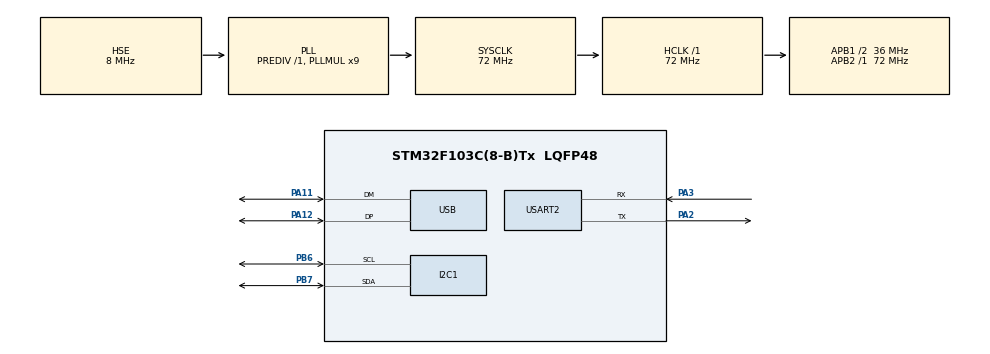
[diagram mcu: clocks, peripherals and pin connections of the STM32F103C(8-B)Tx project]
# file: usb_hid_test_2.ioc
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Mcu.Family=STM32F1
Mcu.Name=STM32F103C(8-B)Tx
Mcu.Package=LQFP48
NVIC.PriorityGroup=NVIC_PRIORITYGROUP_4
NVIC.USART2_IRQn=true\:0\:0\:false\:false\:true\:true\:true\:true
NVIC.USB_LP_CAN1_RX0_IRQn=true\:0\:0\:false\:false\:true\:false\:true\:true
PA11.Mode=Device
PA11.Signal=USB_DM
PA12.Mode=Device
PA12.Signal=USB_DP
PA13.Mode=Serial_Wire
PA13.Signal=SYS_JTMS-SWDIO
PA14.Mode=Serial_Wire
PA14.Signal=SYS_JTCK-SWCLK
PA2.Mode=Asynchronous
PA2.Signal=USART2_TX
PA3.Mode=Asynchronous
PA3.Signal=USART2_RX
PB6.Mode=I2C
PB6.Signal=I2C1_SCL
PB7.Mode=I2C
PB7.Signal=I2C1_SDA
PD0-OSC_IN.Mode=HSE-External-Oscillator
PD0-OSC_IN.Signal=RCC_OSC_IN
PD1-OSC_OUT.Mode=HSE-External-Oscillator
PD1-OSC_OUT.Signal=RCC_OSC_OUT
ProjectManager.HeapSize=0x200
ProjectManager.StackSize=0x400
ProjectManager.TargetToolchain=MDK-ARM V5.32
RCC.AHBFreq_Value=72000000
RCC.APB1CLKDivider=RCC_HCLK_DIV2
RCC.APB1Freq_Value=36000000
RCC.APB1TimFreq_Value=72000000
RCC.APB2Freq_Value=72000000
RCC.APB2TimFreq_Value=72000000
RCC.HCLKFreq_Value=72000000
RCC.PLLMUL=RCC_PLL_MUL9
RCC.SYSCLKFreq_VALUE=72000000
RCC.SYSCLKSource=RCC_SYSCLKSOURCE_PLLCLK
RCC.USBFreq_Value=48000000
RCC.USBPrescaler=RCC_USBCLKSOURCE_PLL_DIV1_5
USART2.VirtualMode=VM_ASYNC
USB_DEVICE.CLASS_NAME_FS=CUSTOM_HID
USB_DEVICE.PID_CUSTOMHID_FS=22370
USB_DEVICE.VirtualMode=CustomHid
USB_DEVICE.VirtualModeFS=Custom_Hid_FS
VP_USB_DEVICE_VS_USB_DEVICE_CUSTOM_HID_FS.Mode=CUSTOM_HID_FS
board=custom

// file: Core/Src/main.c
/* USER CODE BEGIN Header */
/**
  ******************************************************************************
  * @file           : main.c
  * @brief          : Main program body
  ******************************************************************************
  * @attention
  *
  * Copyright (c) 2024 STMicroelectronics.
  * All rights reserved.
  *
  * This software is licensed under terms that can be found in the LICENSE file
  * in the root directory of this software component.
  * If no LICENSE file comes with this software, it is provided AS-IS.
  *
  ******************************************************************************
  */
/* USER CODE END Header */
#include "main.h"
#include "usb_device.h"

/* USER CODE BEGIN Includes */
#include "MPU6050.h"
#include "UartRingbuffer.h"
#include "NMEA.h"
#include "i2c-lcd.h"
#include "usbd_customhid.h"
#include "string.h"
#include "Kalman.h"
#include <math.h>

/* USER CODE END Includes */

I2C_HandleTypeDef hi2c1;

UART_HandleTypeDef huart2;

void SystemClock_Config(void);
static void MX_GPIO_Init(void);
static void MX_I2C1_Init(void);
static void MX_USART2_UART_Init(void);
/* USER CODE BEGIN PFP */
extern float Ax, Ay, Az, Gx, Gy, Gz;
uint8_t USB_TX_Buffer[64];
uint8_t packet[64];
uint32_t time_current = 0;
int dem = 0;
/* USER CODE END PFP */

/* USER CODE BEGIN 0 */
char GGA[100];
char RMC[100];

GPSSTRUCT gpsData;

int flagGGA = 0, flagRMC = 0;

// Hàm tính checksum
uint8_t calculate_checksum(const char *data, uint8_t length) {
    uint8_t checksum = 0;
    for (uint8_t i = 0; i < length; i++) {
        checksum ^= data[i];
    }
    return checksum;
}

// Hàm dóng gói du lieu
void package_gps_data(float longtitude, float latitude, char NS, char EW, float speed, char *packet) {
			sprintf((char *)packet, " %i,%.6f,%c,%.6f,%c,%.2f",1, longtitude, EW, latitude, NS, speed);
			// Tính toán và thêm checksum vào cu?i chu?i
			size_t length = strlen(packet);
			uint8_t checksum = calculate_checksum(packet, length);
			sprintf(packet + length, ",%2X\n\r", checksum); // Thêm checksum vào chuoi
}

// Hàm truyen du lieu qua USB
void send_gps_data() {
    //package_gps_data(longtitude, latitude, speed, (char *)packet);
		sprintf((char *)USB_TX_Buffer, (char *)packet);
		USBD_CUSTOM_HID_SendReport(&hUsbDeviceFS, USB_TX_Buffer, 65);
}

void GPS_READ (void)
{
	if (Wait_for("GGA") == 1)
		{

			//VCCTimeout = 5000;  // Reset the VCC Timeout indicating the GGA is being received

			Copy_upto("*", GGA);
			if (decodeGGA(GGA, &gpsData.ggastruct) == 0) flagGGA = 2;  // 2 indicates the data is valid
			else flagGGA = 1;  // 1 indicates the data is invalid
		}

	if (Wait_for("RMC") == 1)
		{

		 // VCCTimeout = 5000;  // Reset the VCC Timeout indicating the RMC is being received

			Copy_upto("*", RMC);
			if (decodeRMC(RMC, &gpsData.rmcstruct) == 0) flagRMC = 2;  // 2 indicates the data is valid
			else flagRMC = 1;  // 1 indicates the data is invalid
		}
}

/* USER CODE END 0 */

int main(void)

{

  /* MCU Configuration--------------------------------------------------------*/

  /* Reset of all peripherals, Initializes the Flash interface and the Systick. */
  HAL_Init();

  /* Configure the system clock */
  SystemClock_Config();

  /* Initialize all configured peripherals */
  MX_GPIO_Init();
  MX_I2C1_Init();
  MX_USART2_UART_Init();
  MX_USB_DEVICE_Init();
  /* USER CODE BEGIN 2 */

  Ringbuf_init();
	MPU6050_Init();
  HAL_Delay(500);
  /* USER CODE END 2 */

  /* Infinite loop */
  while (1)
  {
    /* USER CODE BEGIN 3 */
//		MPU6050_Read_Accel();
//	  MPU6050_Read_Gyro();
		GPS_READ();
		//ComputeVelocityAndDistance();

		if(HAL_GetTick() - time_current >= 1000){
				package_gps_data(gpsData.ggastruct.lcation.longitude, gpsData.ggastruct.lcation.latitude, gpsData.ggastruct.lcation.NS, gpsData.ggastruct.lcation.EW, gpsData.rmcstruct.speed, (char *)packet);
				send_gps_data();
	  		time_current = HAL_GetTick();
	  	}
		//USBD_CUSTOM_HID_SendReport(&hUsbDeviceFS,"dem: %i", dem++);
  }
  /* USER CODE END 3 */
}

void SystemClock_Config(void)
{
  RCC_OscInitTypeDef RCC_OscInitStruct = {0};
  RCC_ClkInitTypeDef RCC_ClkInitStruct = {0};
  RCC_PeriphCLKInitTypeDef PeriphClkInit = {0};

  /** Initializes the RCC Oscillators according to the specified parameters
  * in the RCC_OscInitTypeDef structure.
  */
  RCC_OscInitStruct.OscillatorType = RCC_OSCILLATORTYPE_HSE;
  RCC_OscInitStruct.HSEState = RCC_HSE_ON;
  RCC_OscInitStruct.HSEPredivValue = RCC_HSE_PREDIV_DIV1;
  RCC_OscInitStruct.HSIState = RCC_HSI_ON;
  RCC_OscInitStruct.PLL.PLLState = RCC_PLL_ON;
  RCC_OscInitStruct.PLL.PLLSource = RCC_PLLSOURCE_HSE;
  RCC_OscInitStruct.PLL.PLLMUL = RCC_PLL_MUL9;
  if (HAL_RCC_OscConfig(&RCC_OscInitStruct) != HAL_OK)
  {
    Error_Handler();
  }

  /** Initializes the CPU, AHB and APB buses clocks
  */
  RCC_ClkInitStruct.ClockType = RCC_CLOCKTYPE_HCLK|RCC_CLOCKTYPE_SYSCLK
                              |RCC_CLOCKTYPE_PCLK1|RCC_CLOCKTYPE_PCLK2;
  RCC_ClkInitStruct.SYSCLKSource = RCC_SYSCLKSOURCE_PLLCLK;
  RCC_ClkInitStruct.AHBCLKDivider = RCC_SYSCLK_DIV1;
  RCC_ClkInitStruct.APB1CLKDivider = RCC_HCLK_DIV2;
  RCC_ClkInitStruct.APB2CLKDivider = RCC_HCLK_DIV1;

  if (HAL_RCC_ClockConfig(&RCC_ClkInitStruct, FLASH_LATENCY_2) != HAL_OK)
  {
    Error_Handler();
  }
  PeriphClkInit.PeriphClockSelection = RCC_PERIPHCLK_USB;
  PeriphClkInit.UsbClockSelection = RCC_USBCLKSOURCE_PLL_DIV1_5;
  if (HAL_RCCEx_PeriphCLKConfig(&PeriphClkInit) != HAL_OK)
  {
    Error_Handler();
  }
}

static void MX_I2C1_Init(void)
{

  hi2c1.Instance = I2C1;
  hi2c1.Init.ClockSpeed = 100000;
  hi2c1.Init.DutyCycle = I2C_DUTYCYCLE_2;
  hi2c1.Init.OwnAddress1 = 0;
  hi2c1.Init.AddressingMode = I2C_ADDRESSINGMODE_7BIT;
  hi2c1.Init.DualAddressMode = I2C_DUALADDRESS_DISABLE;
  hi2c1.Init.OwnAddress2 = 0;
  hi2c1.Init.GeneralCallMode = I2C_GENERALCALL_DISABLE;
  hi2c1.Init.NoStretchMode = I2C_NOSTRETCH_DISABLE;
  if (HAL_I2C_Init(&hi2c1) != HAL_OK)
  {
    Error_Handler();
  }

}

static void MX_USART2_UART_Init(void)
{

  huart2.Instance = USART2;
  huart2.Init.BaudRate = 9600;
  huart2.Init.WordLength = UART_WORDLENGTH_8B;
  huart2.Init.StopBits = UART_STOPBITS_1;
  huart2.Init.Parity = UART_PARITY_NONE;
  huart2.Init.Mode = UART_MODE_TX_RX;
  huart2.Init.HwFlowCtl = UART_HWCONTROL_NONE;
  huart2.Init.OverSampling = UART_OVERSAMPLING_16;
  if (HAL_UART_Init(&huart2) != HAL_OK)
  {
    Error_Handler();
  }

}

static void MX_GPIO_Init(void)
{

  /* GPIO Ports Clock Enable */
  __HAL_RCC_GPIOD_CLK_ENABLE();
  __HAL_RCC_GPIOA_CLK_ENABLE();
  __HAL_RCC_GPIOB_CLK_ENABLE();

}

void Error_Handler(void)
{
  __disable_irq();
  while (1)
  {
  }
}
